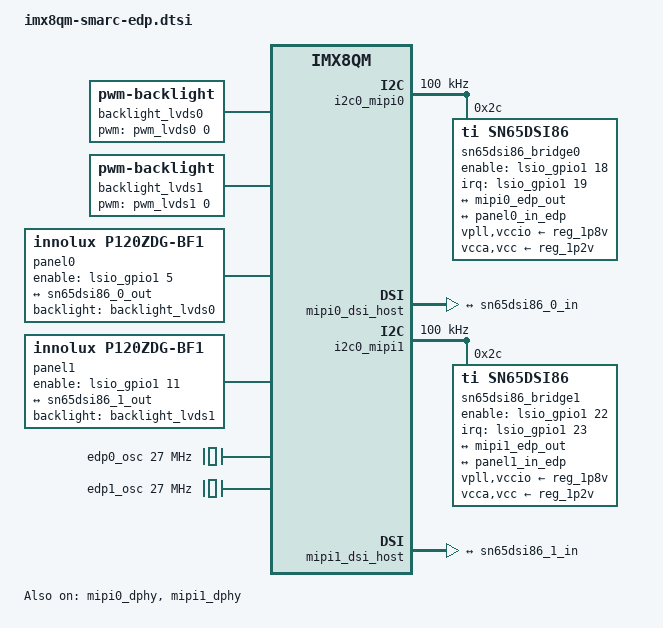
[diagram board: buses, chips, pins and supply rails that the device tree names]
/*
 * Copyright 2023 EMBEDIAN, INC.
 */

/ {
	backlight_lvds0: backlight_lvds@0 {
		compatible = "pwm-backlight";
		pwms = <&pwm_lvds0 0 100000 0>;
		brightness-levels = < 0  1  2  3  4  5  6  7  8  9
				     10 11 12 13 14 15 16 17 18 19
				     20 21 22 23 24 25 26 27 28 29
				     30 31 32 33 34 35 36 37 38 39
				     40 41 42 43 44 45 46 47 48 49
				     50 51 52 53 54 55 56 57 58 59
				     60 61 62 63 64 65 66 67 68 69
				     70 71 72 73 74 75 76 77 78 79
				     80 81 82 83 84 85 86 87 88 89
				     90 91 92 93 94 95 96 97 98 99
				    100>;
		default-brightness-level = <80>;
		status = "okay";
	};

	backlight_lvds1: backlight_lvds@1 {
		compatible = "pwm-backlight";
		pwms = <&pwm_lvds1 0 100000 0>;
		brightness-levels = < 0  1  2  3  4  5  6  7  8  9
				     10 11 12 13 14 15 16 17 18 19
				     20 21 22 23 24 25 26 27 28 29
				     30 31 32 33 34 35 36 37 38 39
				     40 41 42 43 44 45 46 47 48 49
				     50 51 52 53 54 55 56 57 58 59
				     60 61 62 63 64 65 66 67 68 69
				     70 71 72 73 74 75 76 77 78 79
				     80 81 82 83 84 85 86 87 88 89
				     90 91 92 93 94 95 96 97 98 99
				    100>;
		default-brightness-level = <80>;
		status = "okay";
	};

	panel0: panel@0 {
		compatible ="innolux,p120zdg-bf1";
		backlight = <&backlight_lvds0>;
		enable-gpios = <&lsio_gpio1 5 0>;    /* Enable LCD_VDD_EN pin */

		port {
			panel0_in_edp: endpoint {
				remote-endpoint = <&sn65dsi86_0_out>;
			};
		};
	};

	panel1: panel@1 {
		compatible ="innolux,p120zdg-bf1";
		backlight = <&backlight_lvds1>;
		enable-gpios = <&lsio_gpio1 11 0>;	/* Enable LCD_VDD_EN pin */

		port {
			panel1_in_edp: endpoint {
				remote-endpoint = <&sn65dsi86_1_out>;
			};
		};
	};

	/* external 27M oscillator for SN65DSI86 */
	edp0_osc: edp_osc@0 {
		compatible = "fixed-clock";
		#clock-cells = <0>;
		enable-active-high;
		clock-frequency  = <27000000>;
	};

	edp1_osc: edp_osc@1 {
		compatible = "fixed-clock";
		#clock-cells = <0>;
		enable-active-high;
		clock-frequency  = <27000000>;
	};
};

&i2c0_mipi0 {
	#address-cells = <1>;
	#size-cells = <0>;
	pinctrl-names = "default";
	pinctrl-0 = <&pinctrl_mipi0_lpi2c0>;
	clock-frequency = <100000>;
	status = "okay";

	sn65dsi86_bridge0: bridge@2c {
		#address-cells = <1>;
		#size-cells = <0>;

		compatible = "ti,sn65dsi86";
		reg = <0x2c>;

		interrupt-parent = <&lsio_gpio1>;
		interrupts = <19 IRQ_TYPE_LEVEL_HIGH>;

		enable-gpios = <&lsio_gpio1 18 GPIO_ACTIVE_HIGH>;

		vpll-supply = <&reg_1p8v>;
		vccio-supply = <&reg_1p8v>;
		vcca-supply = <&reg_1p2v>;
		vcc-supply = <&reg_1p2v>;

		clocks = <&edp0_osc>;
		clock-names = "refclk";
		status = "okay";

		ports {
			#address-cells = <1>;
			#size-cells = <0>;
			port@0 {
				reg = <0>;
				sn65dsi86_0_in: endpoint {
					remote-endpoint = <&mipi0_edp_out>;
                        	};

                	};

			port@1 {
				reg = <1>;
				sn65dsi86_0_out: endpoint {
					remote-endpoint = <&panel0_in_edp>;
				};
			};
		};
	};
};

&mipi0_dphy {
	status = "okay";
};

&mipi0_dsi_host {
	status = "okay";

	ports {
		port@1 {
			reg = <1>;
			mipi0_edp_out: endpoint {
				remote-endpoint = <&sn65dsi86_0_in>;
				data-lanes = <0 1 2 3>;
			};
		};
	};
};

&i2c0_mipi1 {
	#address-cells = <1>;
	#size-cells = <0>;
	pinctrl-names = "default";
	pinctrl-0 = <&pinctrl_mipi1_lpi2c0>;
	clock-frequency = <100000>;
	status = "okay";

	sn65dsi86_bridge1: bridge@2c {
		#address-cells = <1>;
		#size-cells = <0>;

		compatible = "ti,sn65dsi86";
		reg = <0x2c>;

		interrupt-parent = <&lsio_gpio1>;
		interrupts = <23 IRQ_TYPE_LEVEL_HIGH>;

		enable-gpios = <&lsio_gpio1 22 GPIO_ACTIVE_HIGH>;

		vpll-supply = <&reg_1p8v>;
		vccio-supply = <&reg_1p8v>;
		vcca-supply = <&reg_1p2v>;
		vcc-supply = <&reg_1p2v>;

		clocks = <&edp1_osc>;
		clock-names = "refclk";
		status = "okay";

		ports {
			#address-cells = <1>;
			#size-cells = <0>;
			port@0 {
				reg = <0>;
				sn65dsi86_1_in: endpoint {
					remote-endpoint = <&mipi1_edp_out>;
				};
			};

			port@1 {
				reg = <1>;
				sn65dsi86_1_out: endpoint {
					remote-endpoint = <&panel1_in_edp>;
				};
			};
		};
	};
};

&mipi1_dphy {
	status = "okay";
};

&mipi1_dsi_host {
	status = "okay";

	ports {
		port@1 {
			reg = <1>;
			mipi1_edp_out: endpoint {
				remote-endpoint = <&sn65dsi86_1_in>;
				data-lanes = <0 1 2 3>;
			};
		};
	};
};

&ldb1_phy {
	status = "disabled";
};

&ldb1 {
	status = "disabled";
};

&ldb2_phy {
	status = "disabled";
};

&ldb2 {
	status = "disabled";
};
